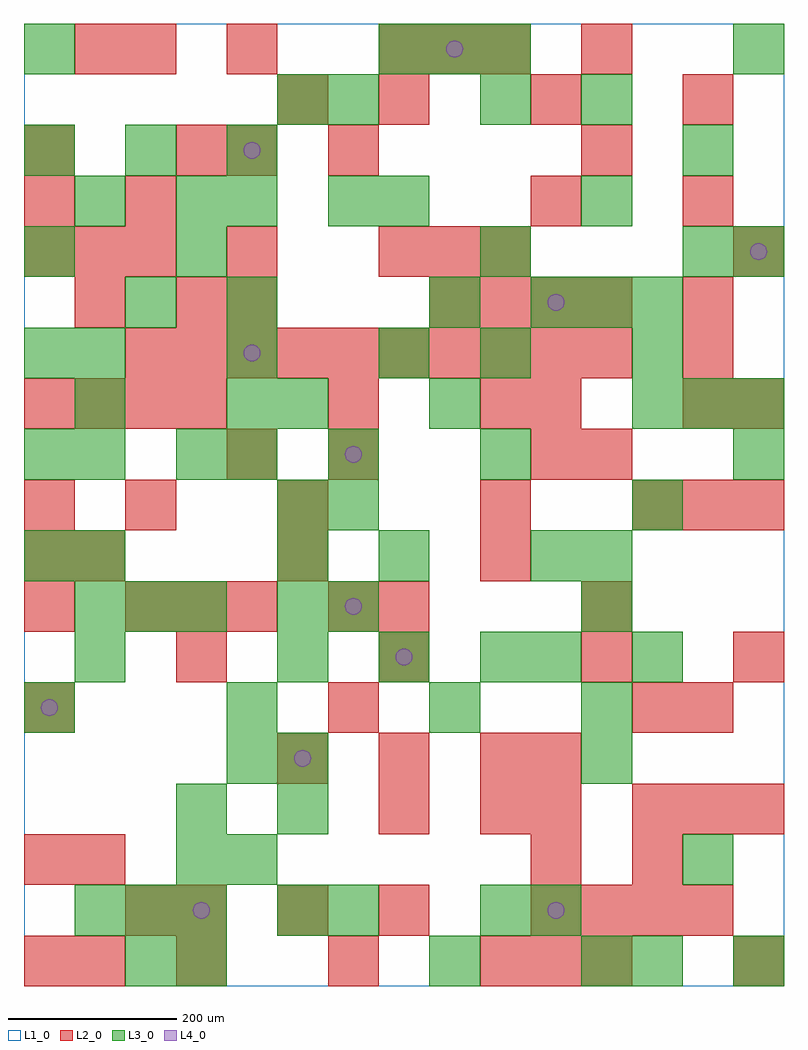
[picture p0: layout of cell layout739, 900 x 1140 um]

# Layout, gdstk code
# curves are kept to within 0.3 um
import gdstk
lib = gdstk.Library(unit=1e-6, precision=1e-09)
def R(c, l, rs):  # rectangles x0, y0, x1, y1
    for r in rs: c.add(gdstk.rectangle(r[:2], r[2:], *l))
def A(c, l, x, y, w, h, nx, ny, dx, dy):  # array of equal rectangles
    R(c, l, [(x+i*dx, y+j*dy, x+i*dx+w, y+j*dy+h) for i in range(nx) for j in range(ny)])
def P(c, l, *ps):  # polygons
    for p in ps: c.add(gdstk.Polygon(p, *l))
L1_0 = (1, 0)
L2_0 = (2, 0)
L3_0 = (3, 0)
L4_0 = (4, 0)

layout739 = lib.new_cell('layout739')
R(layout739, L1_0, [(0,0,900,1140)])
A(layout739, L2_0, 180, 0, 60, 60, 3, 1, 180, 0)
A(layout739, L2_0, 180, 60, 60, 60, 3, 1, 120, 0)
A(layout739, L2_0, 600, 60, 60, 60, 4, 1, 60, 0)
A(layout739, L2_0, 600, 120, 60, 60, 1, 3, 0, 60)
A(layout739, L2_0, 720, 180, 60, 60, 3, 2, 60, 360)
A(layout739, L2_0, 300, 240, 60, 60, 3, 1, 120, 0)
A(layout739, L2_0, 0, 300, 60, 60, 3, 1, 360, 0)
A(layout739, L2_0, 180, 360, 60, 60, 3, 1, 240, 0)
A(layout739, L2_0, 0, 420, 60, 60, 1, 3, 0, 60)
A(layout739, L2_0, 120, 420, 60, 60, 3, 1, 60, 0)
A(layout739, L2_0, 60, 480, 60, 60, 3, 1, 240, 0)
A(layout739, L2_0, 0, 660, 60, 60, 4, 1, 60, 0)
A(layout739, L2_0, 780, 660, 60, 60, 1, 3, 0, 60)
A(layout739, L2_0, 120, 720, 60, 60, 10, 1, 60, 0)
A(layout739, L2_0, 480, 780, 60, 60, 4, 1, 60, 0)
A(layout739, L2_0, 0, 840, 60, 60, 3, 1, 60, 0)
A(layout739, L2_0, 240, 840, 60, 60, 1, 3, 0, 120)
A(layout739, L2_0, 420, 840, 60, 60, 3, 2, 60, 240)
A(layout739, L2_0, 420, 1020, 60, 60, 3, 1, 180, 0)
R(layout739, L2_0, [(0,0,60,60), (60,0,120,60), (600,0,660,60), (660,0,720,60), (840,0,900,60), (120,60,180,120), (0,120,60,180), (60,120,120,180), (720,120,780,180), (420,180,480,240), (540,180,600,240), (780,300,840,360), (840,360,900,420), (360,420,420,480), (420,420,480,480), (660,420,720,480), (120,540,180,600), (300,540,360,600), (540,540,600,600), (240,600,300,660), (360,600,420,660), (600,600,660,660), (660,600,720,660), (360,660,420,720), (540,660,600,720), (600,660,660,720), (840,660,900,720), (60,780,120,840), (180,780,240,840), (240,780,300,840), (840,840,900,900), (0,900,60,960), (120,900,180,960), (600,900,660,960), (780,900,840,960), (0,960,60,1020), (180,960,240,1020), (360,960,420,1020), (660,960,720,1020), (300,1020,360,1080), (60,1080,120,1140), (120,1080,180,1140), (660,1080,720,1140)])
A(layout739, L3_0, 60, 60, 60, 60, 3, 2, 60, 360)
A(layout739, L3_0, 0, 300, 60, 60, 3, 1, 240, 0)
A(layout739, L3_0, 60, 360, 60, 60, 1, 3, 0, 120)
A(layout739, L3_0, 300, 360, 60, 60, 3, 1, 120, 0)
A(layout739, L3_0, 720, 360, 60, 60, 1, 3, 0, 180)
A(layout739, L3_0, 300, 420, 60, 60, 1, 3, 0, 60)
A(layout739, L3_0, 0, 480, 60, 60, 1, 4, 0, 120)
A(layout739, L3_0, 540, 600, 60, 60, 1, 3, 0, 120)
A(layout739, L3_0, 840, 600, 60, 60, 1, 3, 0, 240)
A(layout739, L3_0, 240, 660, 60, 60, 1, 3, 0, 120)
A(layout739, L3_0, 720, 660, 60, 60, 3, 1, 60, 0)
A(layout739, L3_0, 60, 720, 60, 60, 3, 1, 180, 0)
A(layout739, L3_0, 600, 780, 60, 60, 3, 1, 60, 0)
A(layout739, L3_0, 0, 960, 60, 60, 3, 1, 120, 0)
A(layout739, L3_0, 420, 1080, 60, 60, 3, 1, 60, 0)
R(layout739, L3_0, [(120,0,180,60), (180,0,240,60), (480,0,540,60), (660,0,720,60), (720,0,780,60), (840,0,900,60), (300,60,360,120), (360,60,420,120), (540,60,600,120), (600,60,660,120), (180,120,240,180), (240,120,300,180), (780,120,840,180), (180,180,240,240), (300,180,360,240), (240,240,300,300), (300,240,360,300), (660,240,720,300), (660,300,720,360), (600,360,660,420), (360,420,420,480), (660,420,720,480), (420,480,480,540), (600,480,660,540), (660,480,720,540), (360,540,420,600), (180,600,240,660), (240,600,300,660), (360,600,420,660), (60,660,120,720), (300,660,360,720), (480,660,540,720), (120,780,180,840), (480,780,540,840), (180,840,240,900), (780,840,840,900), (60,900,120,960), (180,900,240,960), (360,900,420,960), (420,900,480,960), (660,900,720,960), (780,960,840,1020), (300,1020,360,1080), (360,1020,420,1080), (540,1020,600,1080), (660,1020,720,1080), (0,1080,60,1140)])
P(layout739, L4_0, [(40,330),(39.239,333.827),(37.071,337.071),(33.827,339.239),(30,340),(26.173,339.239),(22.929,337.071),(20.761,333.827),(20,330),(20.761,326.173),(22.929,322.929),(26.173,320.761),(30,320),(33.827,320.761),(37.071,322.929),(39.239,326.173)],
  [(220,90),(219.239,93.827),(217.071,97.071),(213.827,99.239),(210,100),(206.173,99.239),(202.929,97.071),(200.761,93.827),(200,90),(200.761,86.173),(202.929,82.929),(206.173,80.761),(210,80),(213.827,80.761),(217.071,82.929),(219.239,86.173)],
  [(280,750),(279.239,753.827),(277.071,757.071),(273.827,759.239),(270,760),(266.173,759.239),(262.929,757.071),(260.761,753.827),(260,750),(260.761,746.173),(262.929,742.929),(266.173,740.761),(270,740),(273.827,740.761),(277.071,742.929),(279.239,746.173)],
  [(280,990),(279.239,993.827),(277.071,997.071),(273.827,999.239),(270,1000),(266.173,999.239),(262.929,997.071),(260.761,993.827),(260,990),(260.761,986.173),(262.929,982.929),(266.173,980.761),(270,980),(273.827,980.761),(277.071,982.929),(279.239,986.173)],
  [(340,270),(339.239,273.827),(337.071,277.071),(333.827,279.239),(330,280),(326.173,279.239),(322.929,277.071),(320.761,273.827),(320,270),(320.761,266.173),(322.929,262.929),(326.173,260.761),(330,260),(333.827,260.761),(337.071,262.929),(339.239,266.173)],
  [(400,450),(399.239,453.827),(397.071,457.071),(393.827,459.239),(390,460),(386.173,459.239),(382.929,457.071),(380.761,453.827),(380,450),(380.761,446.173),(382.929,442.929),(386.173,440.761),(390,440),(393.827,440.761),(397.071,442.929),(399.239,446.173)],
  [(400,630),(399.239,633.827),(397.071,637.071),(393.827,639.239),(390,640),(386.173,639.239),(382.929,637.071),(380.761,633.827),(380,630),(380.761,626.173),(382.929,622.929),(386.173,620.761),(390,620),(393.827,620.761),(397.071,622.929),(399.239,626.173)],
  [(460,390),(459.239,393.827),(457.071,397.071),(453.827,399.239),(450,400),(446.173,399.239),(442.929,397.071),(440.761,393.827),(440,390),(440.761,386.173),(442.929,382.929),(446.173,380.761),(450,380),(453.827,380.761),(457.071,382.929),(459.239,386.173)],
  [(520,1110),(519.239,1113.827),(517.071,1117.071),(513.827,1119.239),(510,1120),(506.173,1119.239),(502.929,1117.071),(500.761,1113.827),(500,1110),(500.761,1106.173),(502.929,1102.929),(506.173,1100.761),(510,1100),(513.827,1100.761),(517.071,1102.929),(519.239,1106.173)],
  [(640,90),(639.239,93.827),(637.071,97.071),(633.827,99.239),(630,100),(626.173,99.239),(622.929,97.071),(620.761,93.827),(620,90),(620.761,86.173),(622.929,82.929),(626.173,80.761),(630,80),(633.827,80.761),(637.071,82.929),(639.239,86.173)],
  [(640,810),(639.239,813.827),(637.071,817.071),(633.827,819.239),(630,820),(626.173,819.239),(622.929,817.071),(620.761,813.827),(620,810),(620.761,806.173),(622.929,802.929),(626.173,800.761),(630,800),(633.827,800.761),(637.071,802.929),(639.239,806.173)],
  [(880,870),(879.239,873.827),(877.071,877.071),(873.827,879.239),(870,880),(866.173,879.239),(862.929,877.071),(860.761,873.827),(860,870),(860.761,866.173),(862.929,862.929),(866.173,860.761),(870,860),(873.827,860.761),(877.071,862.929),(879.239,866.173)])

lib.write_gds('layout739.gds')
